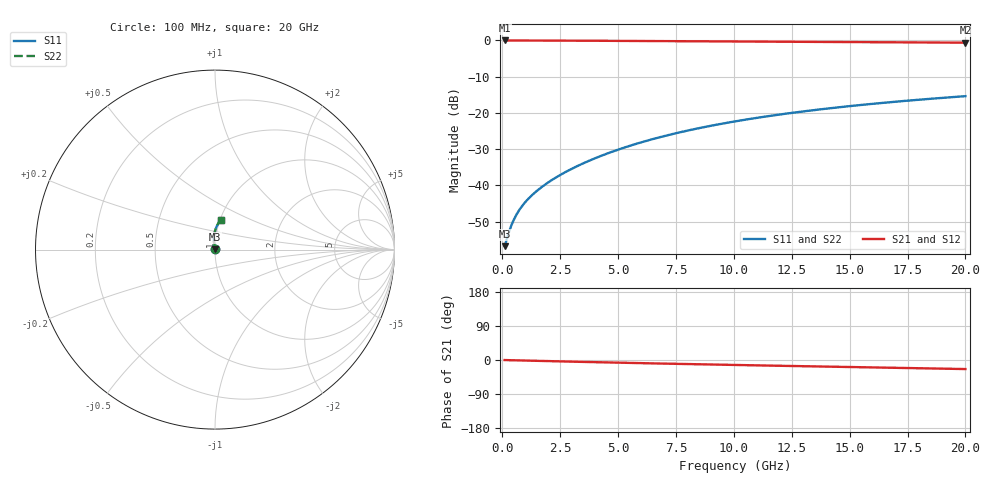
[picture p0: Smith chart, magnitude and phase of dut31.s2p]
! Touchstone file exported from HFSS 2024.1.0
!  File:  C:/UserFiles/LocalFiles/RDL_TSV_Batchsim/temp_RDL_top_31_1778680584.aedt
!  Generated:  09:58:28 PM May 13, 2026
!  Design:  RDL_top
!  Project:  temp_RDL_top_31_1778680584
!  Setup:  Setup1
!  Solution:  Sweep
! Variables:
!  dtsv = 10.80580581um
!  hbump = 3um
!  htsv = 65.98um
!  ldown = 100um
!  lrdl = 383.71um
!  p = 40
!  p1 = 44.22um
!  rhole = 1um
!  t = 450um
!  tdown = 3.915915916um
!  trdl = 4.57um
!  wdown = 15.38538539um
!  wrdl = 28.68um
# GHz S MA R 50.000000
! Terminal data exported
! Port[1] = Box2_T1
! Port[2] = Box2_T2
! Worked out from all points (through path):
!   200 points, 100 MHz to 20 GHz, reference 50 ohm
!   highest |S21| = -0.01 dB at 100 MHz (marker M1); lowest = -0.6 dB at 20 GHz (marker M2)
!   group delay of S21, straight-line fit = 3.26 ps
!   lowest |S11| = -56.8 dB at 100 MHz (marker M3), VSWR 1.00, Z = 50.1 + j0.0705 ohm
!   |S11| at or under -10 dB: start of sweep to end of sweep
!   |S22| runs from -56.8 to -15.4 dB; largest |S21 - S12| = 2.7e-15
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0.1  0.001446 29.1  0.9987 -0.2  0.9987 -0.2  0.001446 29.1
! Gamma 0 0 0 0
! Port Impedance 50 0 50 0
0.3  0.002328 58.6  0.9984 -0.5  0.9984 -0.5  0.002324 58.6
0.4  0.002843 64.7  0.9983 -0.6  0.9983 -0.6  0.002838 64.8
0.5  0.003364 68.7  0.9982 -0.8  0.9982 -0.8  0.003359 68.7
0.6  0.003882 71.4  0.9981 -0.9  0.9981 -0.9  0.003876 71.4
0.8  0.0049 75.1  0.9978 -1.2  0.9978 -1.2  0.004895 75.2
1.1  0.006399 79.0  0.9974 -1.6  0.9974 -1.6  0.006396 79.1
1.5  0.008416 83.1  0.9967 -2.2  0.9967 -2.2  0.008415 83.1
1.8  0.009981 85.6  0.9961 -2.7  0.9961 -2.7  0.00998 85.6
2.1  0.01161 87.8  0.9953 -3.1  0.9953 -3.1  0.01161 87.8
2.8  0.01567 91.7  0.9933 -4.1  0.9933 -4.1  0.01567 91.7
3.5  0.02015 94.5  0.9908 -5.1  0.9908 -5.1  0.02015 94.5
4.2  0.02503 96.3  0.9881 -6.0  0.9881 -6.0  0.02503 96.2
5  0.03106 97.4  0.9848 -7.1  0.9848 -7.1  0.03106 97.4
5.9  0.03836 97.9  0.9809 -8.2  0.9809 -8.2  0.03836 97.9
6.8  0.04611 97.7  0.9769 -9.3  0.9769 -9.3  0.0461 97.7
8.4  0.06066 96.4  0.9701 -11.2  0.9701 -11.2  0.06066 96.4
10.1  0.07678 94.2  0.9634 -13.2  0.9634 -13.2  0.07678 94.2
11.7  0.09221 91.9  0.9574 -15.0  0.9574 -15.0  0.0922 91.9
13.4  0.1086 89.2  0.9515 -16.8  0.9515 -16.8  0.1086 89.2
16.7  0.1399 84.1  0.9409 -20.4  0.9409 -20.4  0.1399 84.0
20  0.17 79.1  0.931 -23.9  0.931 -23.9  0.17 79.1
